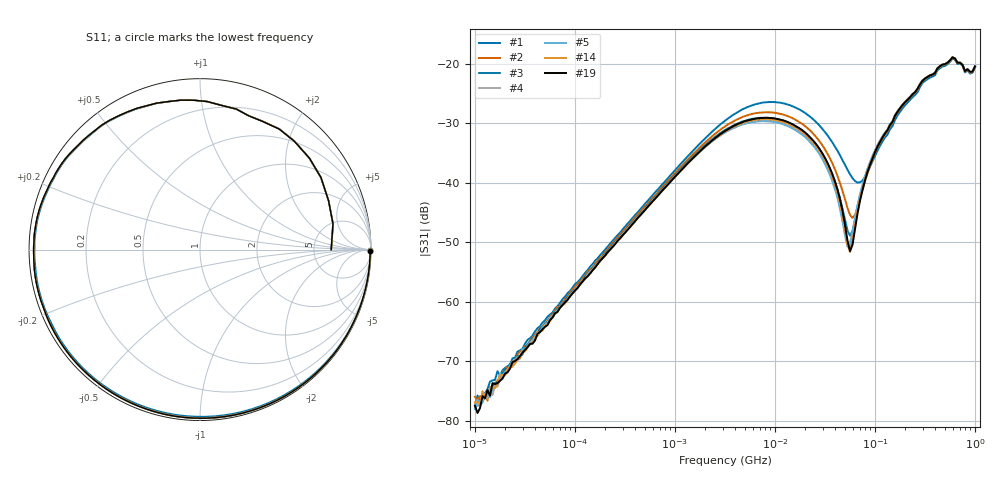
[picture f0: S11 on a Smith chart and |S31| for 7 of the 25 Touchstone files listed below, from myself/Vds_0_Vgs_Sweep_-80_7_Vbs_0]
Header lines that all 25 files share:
!Keysight Technologies,E5080A,MY55100144,A.11.70.03
!Correction: S11(Full 3 Port(1,2,3))
!S12(Full 3 Port(1,2,3))
!S13(Full 3 Port(1,2,3))
!S21(Full 3 Port(1,2,3))
!S22(Full 3 Port(1,2,3))
!S23(Full 3 Port(1,2,3))
!S31(Full 3 Port(1,2,3))
!S32(Full 3 Port(1,2,3))
!S33(Full 3 Port(1,2,3))
!S3P File: Measurements: <S11,S12,S13>,
!<S21,S22,S23>,
!<S31,S32,S33>:Log Frequency Sweep
# Hz S  RI  R 50
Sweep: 10 kHz to 1 GHz
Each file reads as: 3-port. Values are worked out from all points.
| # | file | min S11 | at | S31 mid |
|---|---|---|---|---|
| 1 | 0V0_2V2_0V0.S3P | -2.3 dB | 1 GHz | -29.6 dB at 3.162 MHz |
| 2 | 0V0_2V4_0V0.S3P | -2.3 dB | 1 GHz | -30.6 dB at 3.162 MHz |
| 3 | 0V0_2V6_0V0.S3P | -2.3 dB | 1 GHz | -31.2 dB at 3.162 MHz |
| 4 | 0V0_2V8_0V0.S3P | -2.3 dB | 1 GHz | -31.5 dB at 3.162 MHz |
| 5 | 0V0_3V0_0V0.S3P | -2.3 dB | 1 GHz | -31.6 dB at 3.162 MHz |
| 6 | 0V0_3V2_0V0.S3P | -2.3 dB | 1 GHz | -31.6 dB at 3.162 MHz |
| 7 | 0V0_3V4_0V0.S3P | -2.3 dB | 1 GHz | -31.6 dB at 3.162 MHz |
| 8 | 0V0_3V6_0V0.S3P | -2.3 dB | 1 GHz | -31.6 dB at 3.162 MHz |
| 9 | 0V0_3V8_0V0.S3P | -2.3 dB | 1 GHz | -31.6 dB at 3.162 MHz |
| 10 | 0V0_4V0_0V0.S3P | -2.3 dB | 1 GHz | -31.6 dB at 3.162 MHz |
| 11 | 0V0_4V2_0V0.S3P | -2.3 dB | 1 GHz | -31.5 dB at 3.162 MHz |
| 12 | 0V0_4V4_0V0.S3P | -2.3 dB | 1 GHz | -31.5 dB at 3.162 MHz |
| 13 | 0V0_4V6_0V0.S3P | -2.3 dB | 1 GHz | -31.5 dB at 3.162 MHz |
| 14 | 0V0_4V8_0V0.S3P | -2.3 dB | 1 GHz | -31.4 dB at 3.162 MHz |
| 15 | 0V0_5V0_0V0.S3P | -2.3 dB | 1 GHz | -31.4 dB at 3.162 MHz |
| 16 | 0V0_5V2_0V0.S3P | -2.3 dB | 1 GHz | -31.4 dB at 3.162 MHz |
| 17 | 0V0_5V4_0V0.S3P | -2.3 dB | 1 GHz | -31.4 dB at 3.162 MHz |
| 18 | 0V0_5V6_0V0.S3P | -2.3 dB | 1 GHz | -31.4 dB at 3.162 MHz |
| 19 | 0V0_5V8_0V0.S3P | -2.3 dB | 1 GHz | -31.3 dB at 3.162 MHz |
| 20 | 0V0_6V0_0V0.S3P | -2.3 dB | 1 GHz | -31.3 dB at 3.162 MHz |
| 21 | 0V0_6V2_0V0.S3P | -2.3 dB | 1 GHz | -31.3 dB at 3.162 MHz |
| 22 | 0V0_6V4_0V0.S3P | -2.3 dB | 1 GHz | -31.3 dB at 3.162 MHz |
| 23 | 0V0_6V6_0V0.S3P | -2.3 dB | 1 GHz | -31.3 dB at 3.162 MHz |
| 24 | 0V0_6V8_0V0.S3P | -2.3 dB | 1 GHz | -31.3 dB at 3.162 MHz |
| 25 | 0V0_7V0_0V0.S3P | -2.3 dB | 1 GHz | -31.3 dB at 3.162 MHz |
